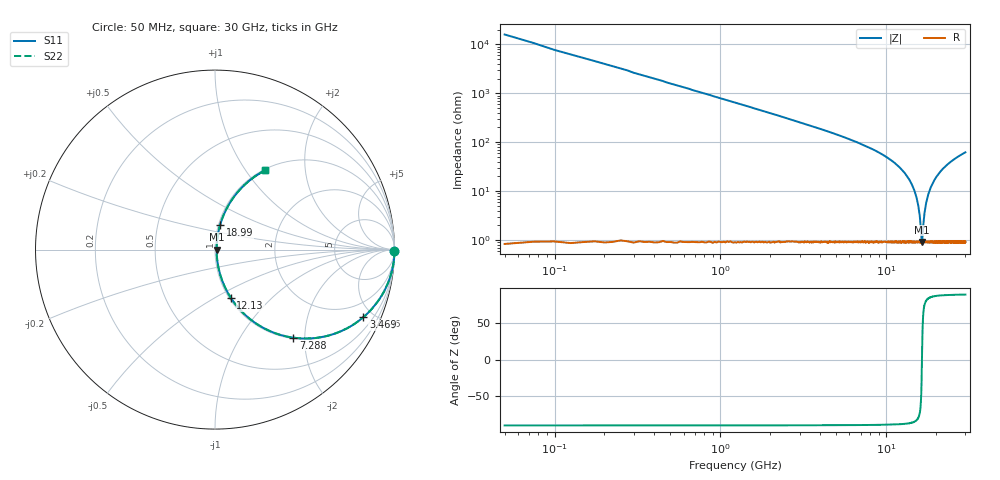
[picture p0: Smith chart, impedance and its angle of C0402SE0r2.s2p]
!	AVX Thin Film Operation 	Date: April 2014
!	Description: Accu-P® Series, Thin Film  SMD RF Capacitor
!	Part Number: 04021J0R2ZBSTR
# MHZ S MA R 50
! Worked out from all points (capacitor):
!   1201 points, 50 MHz to 30 GHz, reference 50 ohm
!   read as one part in series: C = 200 fF near 199.8 MHz
!   lowest |Z| = 911 mohm at 16.42 GHz (marker M1)
!   series resonance near 16.42 GHz, so ESL is about 470 pH
!   S11 on the Smith chart (normalised r, x): 50 MHz: open; 3.469 GHz: 1.02, -4.38; 7.288 GHz: 1.02, -1.75; 12.13 GHz: 1.02, -0.60; 18.99 GHz: 1.02, +0.28; 30 GHz: 1.02, +1.24
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50  1 -0.4  0.006283 89.6  0.006283 89.6  1 -0.4
249.667  0.999 -1.8  0.031 88.2  0.031 88.2  0.999 -1.8
374.458  0.999 -2.7  0.047 87.3  0.047 87.3  0.999 -2.7
898.583  0.994 -6.5  0.113 83.5  0.113 83.5  0.994 -6.5
1921.875  0.971 -13.8  0.238 76.1  0.238 76.1  0.971 -13.8
3469.292  0.908 -24.5  0.415 65.3  0.415 65.3  0.908 -24.5
5041.667  0.817 -34.9  0.571 54.8  0.571 54.8  0.817 -34.9
7287.917  0.656 -48.4  0.748 41.0  0.748 41.0  0.656 -48.4
10058.29  0.44 -62.9  0.89 26.1  0.89 26.1  0.44 -62.9
12129.83  0.283 -71.8  0.95 16.4  0.95 16.4  0.283 -71.8
13901.88  0.159 -77.7  0.978 9.1  0.978 9.1  0.159 -77.7
15025  0.085 -79.1  0.987 4.9  0.987 4.9  0.085 -79.1
15773.75  0.039 -74.5  0.99 2.2  0.99 2.2  0.039 -74.5
16297.88  0.011 -37.0  0.991 0.4  0.991 0.4  0.011 -37.0
16422.67  0.009048 2.6  0.991 -0.0  0.991 -0.0  0.009048 2.6
16921.83  0.031 71.1  0.991 -1.7  0.991 -1.7  0.031 71.1
17346.12  0.054 77.3  0.99 -3.0  0.99 -3.0  0.054 77.3
18020  0.09 79.1  0.987 -5.1  0.987 -5.1  0.09 79.1
18993.38  0.14 78.3  0.981 -8.0  0.981 -8.0  0.14 78.3
20016.67  0.189 76.4  0.973 -10.9  0.973 -10.9  0.189 76.4
25033.29  0.385 66.1  0.914 -22.7  0.914 -22.7  0.385 66.1
30000  0.524 57.6  0.844 -31.6  0.844 -31.6  0.524 57.6
